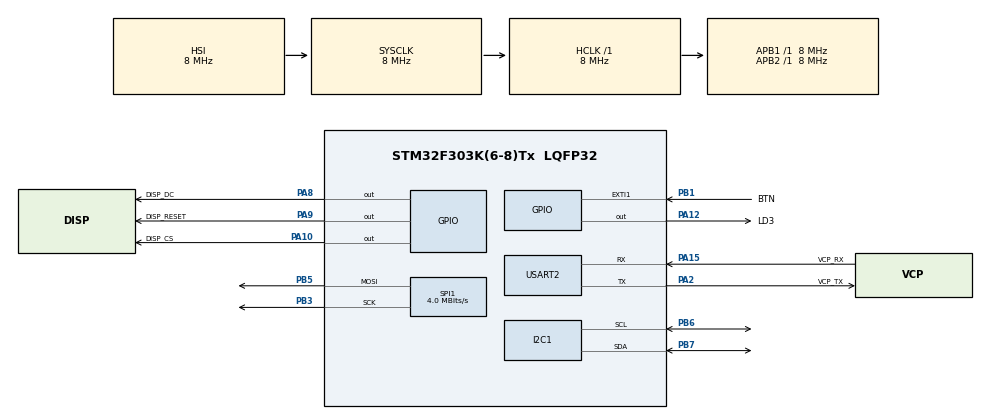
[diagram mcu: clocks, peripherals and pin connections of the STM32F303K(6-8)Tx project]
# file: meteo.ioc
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Dma.I2C1_RX.1.Direction=DMA_PERIPH_TO_MEMORY
Dma.I2C1_RX.1.Instance=DMA1_Channel5
Dma.I2C1_RX.1.MemDataAlignment=DMA_MDATAALIGN_BYTE
Dma.I2C1_RX.1.MemInc=DMA_MINC_ENABLE
Dma.I2C1_RX.1.Mode=DMA_NORMAL
Dma.I2C1_RX.1.PeriphDataAlignment=DMA_PDATAALIGN_BYTE
Dma.I2C1_RX.1.PeriphInc=DMA_PINC_DISABLE
Dma.I2C1_RX.1.Priority=DMA_PRIORITY_LOW
Dma.I2C1_TX.2.Direction=DMA_MEMORY_TO_PERIPH
Dma.I2C1_TX.2.Instance=DMA1_Channel2
Dma.I2C1_TX.2.MemDataAlignment=DMA_MDATAALIGN_BYTE
Dma.I2C1_TX.2.MemInc=DMA_MINC_ENABLE
Dma.I2C1_TX.2.Mode=DMA_NORMAL
Dma.I2C1_TX.2.PeriphDataAlignment=DMA_PDATAALIGN_BYTE
Dma.I2C1_TX.2.PeriphInc=DMA_PINC_DISABLE
Dma.I2C1_TX.2.Priority=DMA_PRIORITY_LOW
Dma.Request0=SPI1_TX
Dma.Request1=I2C1_RX
Dma.Request2=I2C1_TX
Dma.SPI1_TX.0.Direction=DMA_MEMORY_TO_PERIPH
Dma.SPI1_TX.0.Instance=DMA1_Channel3
Dma.SPI1_TX.0.MemDataAlignment=DMA_MDATAALIGN_BYTE
Dma.SPI1_TX.0.MemInc=DMA_MINC_ENABLE
Dma.SPI1_TX.0.Mode=DMA_NORMAL
Dma.SPI1_TX.0.PeriphDataAlignment=DMA_PDATAALIGN_BYTE
Dma.SPI1_TX.0.PeriphInc=DMA_PINC_DISABLE
Dma.SPI1_TX.0.Priority=DMA_PRIORITY_LOW
I2C1.Timing=0x00201D2B
Mcu.Family=STM32F3
Mcu.Name=STM32F303K(6-8)Tx
Mcu.Package=LQFP32
NVIC.DMA1_Channel2_IRQn=true\:0\:0\:false\:false\:true\:false\:true\:true
NVIC.DMA1_Channel3_IRQn=true\:0\:0\:false\:false\:true\:false\:true\:true
NVIC.DMA1_Channel5_IRQn=true\:0\:0\:false\:false\:true\:false\:true\:true
NVIC.EXTI1_IRQn=true\:0\:0\:false\:false\:true\:true\:true\:true
NVIC.PriorityGroup=NVIC_PRIORITYGROUP_4
NVIC.TIM1_UP_TIM16_IRQn=true\:0\:0\:false\:false\:true\:true\:true\:true
NVIC.TIM6_DAC1_IRQn=true\:0\:0\:false\:false\:true\:true\:true\:true
NVIC.TIM7_DAC2_IRQn=true\:0\:0\:false\:false\:true\:true\:true\:true
PA10.GPIO_Label=DISP_CS
PA10.Signal=GPIO_Output
PA12.GPIO_Label=LD3
PA12.Signal=GPIO_Output
PA13.GPIO_Label=SWDIO
PA13.Mode=Serial_Wire
PA13.Signal=SYS_JTMS-SWDIO
PA14.GPIO_Label=SWCLK
PA14.Mode=Serial_Wire
PA14.Signal=SYS_JTCK-SWCLK
PA15.GPIO_Label=VCP_RX
PA15.Mode=Asynchronous
PA15.Signal=USART2_RX
PA2.GPIO_Label=VCP_TX
PA2.Mode=Asynchronous
PA2.Signal=USART2_TX
PA8.GPIO_Label=DISP_DC
PA8.Signal=GPIO_Output
PA9.GPIO_Label=DISP_RESET
PA9.Signal=GPIO_Output
PB1.GPIO_Label=BTN
PB1.GPIO_ModeDefaultEXTI=GPIO_MODE_IT_FALLING
PB1.GPIO_PuPd=GPIO_PULLUP
PB1.Signal=GPXTI1
PB3.Mode=TX_Only_Simplex_Unidirect_Master
PB3.Signal=SPI1_SCK
PB5.Mode=TX_Only_Simplex_Unidirect_Master
PB5.Signal=SPI1_MOSI
PB6.GPIO_Pu=GPIO_PULLUP
PB6.Mode=I2C
PB6.Signal=I2C1_SCL
PB7.GPIO_Pu=GPIO_PULLUP
PB7.Mode=I2C
PB7.Signal=I2C1_SDA
PF0\ /\ OSC_IN.GPIO_Label=MCO
PF0\ /\ OSC_IN.Mode=HSE-External-Clock-Source
PF0\ /\ OSC_IN.Signal=RCC_OSC_IN
ProjectManager.HeapSize=0x200
ProjectManager.StackSize=0x400
ProjectManager.TargetToolchain=STM32CubeIDE
RCC.AHBFreq_Value=8000000
RCC.APB1Freq_Value=8000000
RCC.APB2Freq_Value=8000000
RCC.CortexFreq_Value=8000000
RCC.HSE_VALUE=8000000
RCC.HSI_VALUE=8000000
RCC.I2c1ClockSelection=RCC_I2C1CLKSOURCE_SYSCLK
RCC.SYSCLKFreq_VALUE=8000000
SPI1.CalculateBaudRate=4.0 MBits/s
SPI1.DataSize=SPI_DATASIZE_8BIT
SPI1.Direction=SPI_DIRECTION_2LINES
SPI1.Mode=SPI_MODE_MASTER
SPI1.VirtualType=VM_MASTER
TIM16.Period=7999
TIM16.Prescaler=999
TIM6.Period=5000
TIM6.Prescaler=800-1
TIM7.Period=100
TIM7.Prescaler=800-1
USART2.VirtualMode-Asynchronous=VM_ASYNC
VP_TIM16_VS_ClockSourceINT.Mode=Enable_Timer
VP_TIM6_VS_ClockSourceINT.Mode=Enable_Timer
VP_TIM7_VS_ClockSourceINT.Mode=Enable_Timer
board=NUCLEO-F303K8

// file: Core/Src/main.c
/* USER CODE BEGIN Header */
/**
 ******************************************************************************
 * @file           : main.c
 * @brief          : Main program body
 ******************************************************************************
 * @attention
 *
 * Copyright (c) 2025 STMicroelectronics.
 * All rights reserved.
 *
 * This software is licensed under terms that can be found in the LICENSE file
 * in the root directory of this software component.
 * If no LICENSE file comes with this software, it is provided AS-IS.
 *
 ******************************************************************************
 */
/* USER CODE END Header */
#include "main.h"
#include "dma.h"
#include "i2c.h"
#include "spi.h"
#include "tim.h"
#include "usart.h"
#include "gpio.h"

/* USER CODE BEGIN Includes */
#include "hts221.h"
#include "lps25hb.h"
#include <stdio.h>
#include <string.h>
#include "text_function.h"
#include "stm32f3xx_hal.h"
#include "ILI9341_STM32_Driver.h"
#include "ILI9341_GFX.h"
#include <math.h>
/* USER CODE END Includes */

/* USER CODE BEGIN PTD */
typedef enum {
	WX_CLOUDY = 1, WX_SUNNY = 2, WX_RAIN = 3, WX_STORM = 4, WX_FOG = 5
} WeatherFlag;
/* USER CODE END PTD */

/* USER CODE BEGIN PD */
#define PRESS_BUF_SIZE   10         // 10 vzoriek
#define SAMPLE_PERIOD_S  60 		// 1 vzorka tlaku za 60 s

/* USER CODE END PD */

/* USER CODE BEGIN PV */
int8_t screen_index = 0;
int8_t screen_status = 0;
int8_t screen_tick = 0;
int32_t butonCounter = 0;

char string_pressure[7];
char string_humidity[7];
char string_hum_lvl[10];
char string_temp[7];

int8_t mode = 1;
int8_t redraw = 0;
uint8_t screen = 0;
uint32_t change = 0;
volatile uint8_t btn_pressed = 0;

char string_buf[7];
uint8_t date_buff[6];
uint8_t date_changemask = 0;

HTS221_t hts;
LPS22HB_t lps;

float temperature = 0.0f, humidity = 0.0f, pressure_hPa = 0.0f;

static float pressBuf[PRESS_BUF_SIZE];
static uint8_t pressIdx = 0;
static bool pressFull = false;
static uint32_t lastSampleTick = 0;
static uint32_t lastSensorRead = 0;

// Pre display
float display_temp = 0.0f;
float display_humidity = 0.0f;
float display_pressure = 0.0f;
WeatherFlag current_weather = WX_SUNNY;

/* USER CODE END PV */

void SystemClock_Config(void);
/* USER CODE BEGIN PFP */
int USART_ReadTime();
static float readPressure_hPa(void);
static float pressureTrend_hPa_per_hr(void);
static WeatherFlag simpleForecast(float p_hPa, float rh_percent,
		float trend_hPa_hr, float tempC);
static void updateSensorData(void);
static void updateWeatherForecast(void);

/* USER CODE END PFP */

/* USER CODE BEGIN 0 */

static float readPressure_hPa(void) {
	float pressure = LPS22_ReadPressure(&lps);
	return pressure;
}

static void updateSensorData(void) {
	temperature = HTS221_ReadTemperature(&hts);
	humidity = HTS221_ReadHumidity(&hts);
	pressure_hPa = readPressure_hPa();

	// Aktualizuj display hodnoty
	display_temp = temperature;
	display_humidity = humidity;
	display_pressure = pressure_hPa;

	// Log každú sekundu: T, RH, p
	printf("%.1f, %.0f, %.1f\r\n", temperature, humidity, pressure_hPa);
}

static void updateWeatherForecast(void) {
	// Raz za SAMPLE_PERIOD_S urob vzorku tlaku do buffra
	if (HAL_GetTick() - lastSampleTick >= (SAMPLE_PERIOD_S * 1000UL)) {
		lastSampleTick = HAL_GetTick();

		pressBuf[pressIdx] = pressure_hPa;
		pressIdx = (pressIdx + 1) % PRESS_BUF_SIZE;

		// Po naplnení buffra nastav flag
		if (pressIdx == 0 && !pressFull) {
			pressFull = true;
		}

		// Keď je buffer plný, vypočítaj trend a predpoveď
		if (pressFull) {
			float trend = pressureTrend_hPa_per_hr();
			current_weather = simpleForecast(pressure_hPa, humidity, trend,
					temperature);

			// WX je flag predpovede
			printf("WX=%d, trend=%.2f hPa/h\r\n", (int) current_weather, trend);
		}
	}
}

/* USER CODE END 0 */

int main(void)
{

  /* MCU Configuration--------------------------------------------------------*/

  /* Reset of all peripherals, Initializes the Flash interface and the Systick. */
  HAL_Init();

  /* Configure the system clock */
  SystemClock_Config();

  /* Initialize all configured peripherals */
  MX_GPIO_Init();
  MX_DMA_Init();
  MX_USART2_UART_Init();
  MX_SPI1_Init();
  MX_I2C1_Init();
  MX_TIM7_Init();
  MX_TIM6_Init();
  MX_TIM16_Init();
  /* USER CODE BEGIN 2 */

//	uint8_t manual_id = 0;
//	HAL_I2C_Mem_Read(&hi2c1, (0x5F << 1), 0x0F, 1, &manual_id, 1, 100);
//	printf("Manualny test: 0x%02X\r\n", manual_id);
//
//	uint8_t id_test = 0;
//	if (HAL_I2C_Mem_Read(&hi2c1, (0x5C << 1), 0x0F, 1, &id_test, 1, 100)
//			== HAL_OK) {
//		printf("LPS najdeny na adrese 0xB8! ID: 0x%02X\r\n", id_test);
//	} else if (HAL_I2C_Mem_Read(&hi2c1, (0x5D << 1), 0x0F, 1, &id_test, 1, 100)
//			== HAL_OK) {
//		printf("LPS najdeny na adrese 0xBA! ID: 0x%02X\r\n", id_test);
//	} else {
//		printf("LPS nereaguje na ziadnej znamej adrese.\r\n");
//	}

	hts.hi2c = &hi2c1;
	hts.I2C_Read = I2C_Read;
	hts.I2C_Write = I2C_Write;

	lps.hi2c = &hi2c1;
	lps.I2C_Read = I2C_Read;
	lps.I2C_Write = I2C_Write;

	//TU VYPISE OK
	if (HTS221_Init(&hts)) {
		printf("HTS221 OK\r\n");
	} else {
		printf("HTS221 FAIL\r\n");
	}

	if (LPS22_Init(&lps)) {
		printf("LPS22 OK\r\n");
	} else {
		printf("LPS22 FAIL\r\n");
	}

	//TU VYPISE DOBRE HODNOTY
	updateSensorData();
	HAL_Delay(1000);
	printf("Reference pressure: %.2f hPa\r\n", pressure_hPa);
	HAL_Delay(1000);
	printf("Temperature: %.1f C\r\n", temperature);
	HAL_Delay(1000);
	printf("Humidity: %.0f %%\r\n\r\n", humidity);

	HAL_Delay(1000);
	USART_ReadTime();
	HAL_Delay(100);

	// displej init
	//AK SU ZAKOMENTOVANE NASLEDUJUCE TRI RIADKY, DALSIA INIT SENZOROV NEZLYHA
	ILI9341_Init();
	ILI9341_SetRotation(3);
	ILI9341_FillScreen(BGCOLOR);
	HAL_Delay(1000);

	//TU VYPISE FAIL AJ NAPRIEK PRVOTNEMU OK (AK SU ZAKOMENTOVANE VYSSIE SPOMENUTE TRI RIADKY, VYPISE OK, NO PO CASE ZNOVA ZACNU SENZORY VRACAT HLUPOSTI)
	if (HTS221_Init(&hts)) {
		printf("HTS221 OK\r\n");
	} else {
		printf("HTS221 FAIL\r\n");
	}

	if (LPS22_Init(&lps)) {
		printf("LPS22 OK\r\n");
	} else {
		printf("LPS22 FAIL\r\n");
	}

	// TU VRACIA HLUPOSTI
	HAL_Delay(200);
	updateSensorData();

	HAL_Delay(1000);
	printf("Reference pressure: %.2f hPa\r\n", pressure_hPa);
	HAL_Delay(1000);
	printf("Temperature: %.1f C\r\n", temperature);
	HAL_Delay(1000);
	printf("Humidity: %.0f %%\r\n\r\n", humidity);

	lastSampleTick = HAL_GetTick();
	lastSensorRead = HAL_GetTick();

	HAL_TIM_Base_Start_IT(&htim16);

	int last_second_val = -1;
	char time_string[10];
	char seconds_string[5];
	char date_string[15];

	float last_temp = display_temp;
	int16_t last_humidity = (int) display_humidity;
	int16_t last_pressure = (int) display_pressure;
//	float last_temp = -1.0f;
//		int16_t last_humidity = -1;
//		int16_t last_pressure = -1;

	DrawDataCentered_WithOffset("Welcome!", FONT4, 2, 65, FCOLOR);
	DrawDataCentered_WithOffset("Weather station created by:", FONT4, 1, 115,
	FCOLOR);
	DrawDataCentered_WithOffset("Bodor, Gavendova,", FONT4, 1,
			115 + FONT4[2] + 1, FCOLOR);
	DrawDataCentered_WithOffset("Kapina, Krajmer", FONT4, 1,
			115 + (FONT4[2]) * 2 + 1, FCOLOR);

  /* USER CODE END 2 */

  /* Infinite loop */
  /* USER CODE BEGIN WHILE */

	// NEMAZAT!!!!!!!!!!!
	// LEN ZAKOMENTOVANY MODE 0
//	if (mode == 0) {
//		DrawDataCentered_WithOffset("*Press the button to stop the screen",
//		FONT4, 1, 240 - FONT4[2] - 1, GREEN);
//		HAL_Delay(3000);
//		while (1) {
//			if (HAL_GetTick() - lastSensorRead >= 1000) {
//				lastSensorRead = HAL_GetTick();
//				updateSensorData();
//				updateWeatherForecast();
//			}
//
//			int current_s = date_buff[2];
//			int year = 1900 + date_buff[5];
//			sprintf(date_string, "%02d.%02d.%04d", date_buff[3], date_buff[4],
//					year);
//
//			if ((int) display_humidity >= 40 && (int) display_humidity <= 60) {
//				snprintf(string_hum_lvl, sizeof(string_hum_lvl), "COMFORT");
//			} else if ((int) display_humidity < 40) {
//				snprintf(string_hum_lvl, sizeof(string_hum_lvl), "DRY");
//			} else {
//				snprintf(string_hum_lvl, sizeof(string_hum_lvl), "HUMID");
//			}
//
//			if (!btn_pressed && (HAL_GetTick() - change >= 5000)) {
//				screen++;
//				if (screen > 5)
//					screen = 0;
//				change = HAL_GetTick();
//
//				ILI9341_FillScreen(BGCOLOR);
//				last_temp = -1.0f;
//				last_humidity = -1;
//				last_pressure = -1;
//
//				switch (screen) {
//				case 0:
//					sprintf(time_string, "%02d:%02d", date_buff[0],
//							date_buff[1]);
//					sprintf(seconds_string, ":%02d", date_buff[2]);
//					sprintf(string_temp, "%.1f", display_temp);
//					sprintf(string_humidity, "%.0f", display_humidity);
//					sprintf(string_pressure, "%.0f", display_pressure);
//
//					ILI9341_DrawHLine(0, 120, 320, FCOLOR);
//					ILI9341_DrawVLine(160, 0, 240, FCOLOR);
//					DrawDataInBox(time_string, seconds_string, date_string,
//							FONT4, 2, 1, 1, 0, 0, 1, 1, 1);
//					DrawDataInBox(string_temp, "\177C", "", FONT4, 2, 1, 1, 160,
//							0, 1, 1, 0);
//					DrawDataInBox(string_humidity, "%", string_hum_lvl, FONT4,
//							2, 1, 1, 0, 120, 1, 1, 1);
//					DrawDataInBox(string_pressure, "hPa", "", FONT4, 2, 1, 1,
//							160, 120, 1, 1, 0);
//					break;
//
//				case 1:
//					sprintf(time_string, "%02d:%02d", date_buff[0],
//							date_buff[1]);
//					sprintf(seconds_string, ":%02d", date_buff[2]);
//					DrawDataCentered2(time_string, seconds_string, date_string,
//							FONT4, 5, 3, 3, 1, 1, 1);
//					break;
//
//				case 2:
//					sprintf(string_temp, "%.1f", display_temp);
//					DrawDataCentered2(string_temp, "\177C", "", FONT4, 5, 3, 0,
//							1, 1, 0);
//					break;
//
//				case 3:
//					sprintf(string_humidity, "%.0f", display_humidity);
//					DrawDataCentered2(string_humidity, "%", string_hum_lvl,
//							FONT4, 5, 3, 3, 1, 1, 1);
//					break;
//
//				case 4:
//					sprintf(string_pressure, "%.0f", display_pressure);
//					DrawDataCentered2(string_pressure, "hPa", "", FONT4, 5, 3,
//							0, 1, 1, 0);
//					break;
//
//				case 5:
//					if (current_weather == WX_CLOUDY) {
//						DrawCloud(LIGHTGREY, 3);
//					} else if (current_weather == WX_SUNNY) {
//						DrawSun(YELLOW, 3);
//					} else if (current_weather == WX_RAIN) {
//						DrawRain(LIGHTGREY, 3);
//					} else if (current_weather == WX_FOG) {
//						DrawFog(LIGHTGREY, 3);
//					}
//					break;
//				}
//			}
//
//			// dynamic
//			if (screen == 0) {
//				if (current_s != last_second_val) {
//					sprintf(time_string, "%02d:%02d", date_buff[0],
//							date_buff[1]);
//					sprintf(seconds_string, ":%02d", date_buff[2]);
//					redraw = (current_s == 0) ? 1 : 0;
//					DrawDataInBox(time_string, seconds_string, date_string,
//							FONT4, 2, 1, 1, 0, 0, redraw, 1, 0);
//					last_second_val = current_s;
//				}
//			}
//
//			if (screen == 1) {
//				if (current_s != last_second_val) {
//					sprintf(time_string, "%02d:%02d", date_buff[0],
//							date_buff[1]);
//					sprintf(seconds_string, ":%02d", date_buff[2]);
//					redraw = (current_s == 0) ? 1 : 0;
//					DrawDataCentered2(time_string, seconds_string, date_string,
//							FONT4, 5, 3, 3, redraw, 1, 0);
//					last_second_val = current_s;
//				}
//			}
//
//			if (display_temp != last_temp) {
//				sprintf(string_temp, "%.1f", display_temp);
//				if (screen == 2) {
//					DrawDataCentered2(string_temp, "\177C", "", FONT4, 5, 3, 0,
//							1, 0, 0);
//				} else if (screen == 0) {
//					DrawDataInBox(string_temp, "\177C", "", FONT4, 2, 1, 1, 160,
//							0, 1, 0, 0);
//				}
//				last_temp = display_temp;
//			}
//
//			if ((int) display_humidity != last_humidity) {
//				sprintf(string_humidity, "%.0f", display_humidity);
//				if (screen == 3) {
//					DrawDataCentered2(string_humidity, "%", string_hum_lvl,
//							FONT4, 5, 3, 3, 1, 0, 0);
//				} else if (screen == 0) {
//					DrawDataInBox(string_humidity, "%", string_hum_lvl, FONT4,
//							2, 1, 1, 0, 120, 1, 0, 0);
//				}
//				last_humidity = (int) display_humidity;
//			}
//
//			if ((int) display_pressure != last_pressure) {
//				sprintf(string_pressure, "%.0f", display_pressure);
//				if (screen == 4) {
//					DrawDataCentered2(string_pressure, "hPa", "", FONT4, 5, 3,
//							0, 1, 0, 0);
//				} else if (screen == 0) {
//					DrawDataInBox(string_pressure, "hPa", "", FONT4, 2, 1, 1,
//							160, 120, 1, 0, 0);
//				}
//				last_pressure = (int) display_pressure;
//			}
//		}
//	}
	if (mode == 1) {
		DrawDataCentered_WithOffset("*Press the button to switch screens",
		FONT4, 1, 240 - FONT4[2] - 1, GREEN);

		uint32_t first = 0;
		while (1) {
			if (HAL_GetTick() - lastSensorRead >= 2000) {
				lastSensorRead = HAL_GetTick();
				updateSensorData();
				updateWeatherForecast();
			}

			int current_s = date_buff[2];
			int year = 1900 + date_buff[5];
			sprintf(date_string, "%02d.%02d.%04d", date_buff[3], date_buff[4],
					year);

			if (btn_pressed) {
				screen++;
				if (screen > 5)
					screen = 0;

				ILI9341_FillScreen(BGCOLOR);

				first = 1;
				btn_pressed = 0;

				switch (screen) {
				case 0:
					sprintf(time_string, "%02d:%02d", date_buff[0],
							date_buff[1]);
					sprintf(seconds_string, ":%02d", date_buff[2]);
					sprintf(string_temp, "%.1f", display_temp);
					sprintf(string_humidity, "%.0f", display_humidity);
					sprintf(string_pressure, "%.0f", display_pressure);

					if ((int) display_humidity >= 40
							&& (int) display_humidity <= 60) {
						snprintf(string_hum_lvl, sizeof(string_hum_lvl),
								"COMFORT");
					} else if ((int) display_humidity < 40) {
						snprintf(string_hum_lvl, sizeof(string_hum_lvl), "DRY");
					} else {
						snprintf(string_hum_lvl, sizeof(string_hum_lvl),
								"HUMID");
					}

					ILI9341_DrawHLine(0, 120, 320, FCOLOR);
					ILI9341_DrawVLine(160, 0, 240, FCOLOR);
					DrawDataInBox(time_string, seconds_string, date_string,
					FONT4, 2, 1, 1, 0, 0, 1, 1, 1);
					DrawDataInBox(string_temp, "\177C", "", FONT4, 2, 1, 1, 160,
							0, 1, 1, 0);
					DrawDataInBox(string_humidity, "%", string_hum_lvl, FONT4,
							2, 1, 1, 0, 120, 1, 1, 1);
					DrawDataInBox(string_pressure, "hPa", "", FONT4, 2, 1, 1,
							160, 120, 1, 1, 0);
					break;

				case 1:
					sprintf(time_string, "%02d:%02d", date_buff[0],
							date_buff[1]);
					sprintf(seconds_string, ":%02d", date_buff[2]);
					DrawDataCentered2(time_string, seconds_string, date_string,
					FONT4, 5, 3, 3, 1, 1, 1);
					break;

				case 2:
					sprintf(string_temp, "%.1f", display_temp);
					DrawDataCentered2(string_temp, "\177C", "", FONT4, 5, 3, 0,
							1, 1, 0);
					break;

				case 3:
					if ((int) display_humidity >= 40
							&& (int) display_humidity <= 60) {
						snprintf(string_hum_lvl, sizeof(string_hum_lvl),
								"COMFORT");
					} else if ((int) display_humidity < 40) {
						snprintf(string_hum_lvl, sizeof(string_hum_lvl), "DRY");
					} else {
						snprintf(string_hum_lvl, sizeof(string_hum_lvl),
								"HUMID");
					}

					sprintf(string_humidity, "%.0f", display_humidity);
					DrawDataCentered2(string_humidity, "%", string_hum_lvl,
					FONT4, 5, 3, 3, 1, 1, 1);
					break;

				case 4:
					sprintf(string_pressure, "%.0f", display_pressure);
					DrawDataCentered2(string_pressure, "hPa", "", FONT4, 5, 3,
							0, 1, 1, 0);
					break;

				case 5:
					if (current_weather == WX_CLOUDY) {
						DrawCloud(LIGHTGREY, 3);
					} else if (current_weather == WX_SUNNY) {
						DrawSun(YELLOW, 3);
					} else if (current_weather == WX_RAIN) {
						DrawRain(LIGHTGREY, 3);
					} else if (current_weather == WX_FOG) {
						DrawFog(LIGHTGREY, 3);
					}
					break;
				}
			}

			if (first == 1) {
				// dynamic
				if (screen == 0) {
					if (current_s != last_second_val) {
						sprintf(time_string, "%02d:%02d", date_buff[0],
								date_buff[1]);
						sprintf(seconds_string, ":%02d", date_buff[2]);
						redraw = (current_s == 0) ? 1 : 0;
						DrawDataInBox(time_string, seconds_string, date_string,
						FONT4, 2, 1, 1, 0, 0, redraw, 1, 0);
						last_second_val = current_s;
					}
				}

				if (screen == 1) {
					if (current_s != last_second_val) {
						sprintf(time_string, "%02d:%02d", date_buff[0],
								date_buff[1]);
						sprintf(seconds_string, ":%02d", date_buff[2]);
						redraw = (current_s == 0) ? 1 : 0;
						DrawDataCentered2(time_string, seconds_string,
								date_string, FONT4, 5, 3, 3, redraw, 1, 0);
						last_second_val = current_s;
					}
				}

				if (display_temp != last_temp) {
					sprintf(string_temp, "%.1f", display_temp);
					if (screen == 2) {
						ILI9341_DrawFilledRectangleCoord(0, 60, 320, 180,
						BGCOLOR);
						DrawDataCentered2(string_temp, "\177C", "", FONT4, 5, 3,
								0, 1, 1, 0);
					} else if (screen == 0) {
						ILI9341_DrawFilledRectangleCoord(170, 30, 310, 90,
						BGCOLOR);
						DrawDataInBox(string_temp, "\177C", "", FONT4, 2, 1, 1,
								160, 0, 1, 1, 0);
					}
					last_temp = display_temp;
				}
				static char last_hum_lvl[7] = "";
				if ((int) display_humidity != last_humidity) {
					bool change = 0;
					if ((int) display_humidity >= 40
							&& (int) display_humidity <= 60) {
						snprintf(string_hum_lvl, sizeof(string_hum_lvl),
								"COMFORT");
					} else if ((int) display_humidity < 40) {
						snprintf(string_hum_lvl, sizeof(string_hum_lvl), "DRY");
					} else {
						snprintf(string_hum_lvl, sizeof(string_hum_lvl),
								"HUMID");
					}
					if (strcmp(string_hum_lvl, last_hum_lvl) != 0) {
						change = 1;
						strncpy(last_hum_lvl, string_hum_lvl,
								sizeof(last_hum_lvl));
					}
					sprintf(string_humidity, "%.0f", display_humidity);
					if (screen == 3) {
						if (change == 1) {
							ILI9341_DrawFilledRectangleCoord(10, 20, 300, 220,
							BGCOLOR);
						} else {
							ILI9341_DrawFilledRectangleCoord(10, 20, 300, 130,
							BGCOLOR);
						}
						DrawDataCentered2(string_humidity, "%", string_hum_lvl,
						FONT4, 5, 3, 3, 1, 1, change);
						change = 0;
					} else if (screen == 0) {
						if (change == 1) {
							ILI9341_DrawFilledRectangleCoord(10, 130, 150, 230,
							BGCOLOR);
						} else {
							ILI9341_DrawFilledRectangleCoord(10, 130, 150, 185,
							BGCOLOR);
						}

						DrawDataInBox(string_humidity, "%", string_hum_lvl,
						FONT4, 2, 1, 1, 0, 120, 1, 1, change);
					}
					last_humidity = (int) display_humidity;
				}

				if ((int) display_pressure != last_pressure) {
					sprintf(string_pressure, "%.0f", display_pressure);
					if (screen == 4) {
						ILI9341_DrawFilledRectangleCoord(20, 60, 300, 180,
						BGCOLOR);
						DrawDataCentered2(string_pressure, "hPa", "", FONT4, 5,
								3, 0, 1, 1, 0);

					} else if (screen == 0) {
						ILI9341_DrawFilledRectangleCoord(170, 150, 310, 210,
						BGCOLOR);
						DrawDataInBox(string_pressure, "hPa", "", FONT4, 2, 1,
								1, 160, 120, 1, 1, 0);
					}
					last_pressure = (int) display_pressure;
				}
			}
		}
	}

    /* USER CODE END WHILE */

}

void SystemClock_Config(void)
{
  RCC_OscInitTypeDef RCC_OscInitStruct = {0};
  RCC_ClkInitTypeDef RCC_ClkInitStruct = {0};
  RCC_PeriphCLKInitTypeDef PeriphClkInit = {0};

  /** Initializes the RCC Oscillators according to the specified parameters
  * in the RCC_OscInitTypeDef structure.
  */
  RCC_OscInitStruct.OscillatorType = RCC_OSCILLATORTYPE_HSI;
  RCC_OscInitStruct.HSIState = RCC_HSI_ON;
  RCC_OscInitStruct.HSICalibrationValue = RCC_HSICALIBRATION_DEFAULT;
  RCC_OscInitStruct.PLL.PLLState = RCC_PLL_NONE;
  if (HAL_RCC_OscConfig(&RCC_OscInitStruct) != HAL_OK)
  {
    Error_Handler();
  }

  /** Initializes the CPU, AHB and APB buses clocks
  */
  RCC_ClkInitStruct.ClockType = RCC_CLOCKTYPE_HCLK|RCC_CLOCKTYPE_SYSCLK
                              |RCC_CLOCKTYPE_PCLK1|RCC_CLOCKTYPE_PCLK2;
  RCC_ClkInitStruct.SYSCLKSource = RCC_SYSCLKSOURCE_HSI;
  RCC_ClkInitStruct.AHBCLKDivider = RCC_SYSCLK_DIV1;
  RCC_ClkInitStruct.APB1CLKDivider = RCC_HCLK_DIV1;
  RCC_ClkInitStruct.APB2CLKDivider = RCC_HCLK_DIV1;

  if (HAL_RCC_ClockConfig(&RCC_ClkInitStruct, FLASH_LATENCY_0) != HAL_OK)
  {
    Error_Handler();
  }
  PeriphClkInit.PeriphClockSelection = RCC_PERIPHCLK_I2C1;
  PeriphClkInit.I2c1ClockSelection = RCC_I2C1CLKSOURCE_SYSCLK;
  if (HAL_RCCEx_PeriphCLKConfig(&PeriphClkInit) != HAL_OK)
  {
    Error_Handler();
  }
}

/* USER CODE BEGIN 4 */
void HAL_GPIO_EXTI_Callback(uint16_t GPIO_Pin) {
	if (GPIO_Pin == BTN_Pin) {
		btn_pressed = !btn_pressed;
		HAL_GPIO_TogglePin(GPIOB, LD3_Pin);
	}
}

// odošleme žiadosť na dektop apku pomocou USART portu a čakáme na odpoveď
int USART_ReadTime() {
	uint8_t msg[] = "get\0";

	HAL_UART_Transmit(&huart2, msg, sizeof(msg) - 1, HAL_MAX_DELAY);
	uint8_t rx;

	for (int i = 0; i < 6; i++) {
		HAL_UART_Receive(&huart2, &rx, 1, HAL_MAX_DELAY);
		date_buff[i] = rx;
	}
	char buff[30];
	uint16_t year = 1900;
	year += date_buff[5];
	sprintf(buff, "%02d:%02d:%02d %02d.%02d.%04d", date_buff[0], date_buff[1],
			date_buff[2], date_buff[3], date_buff[4], year);
	HAL_UART_Transmit(&huart2, buff, sizeof(buff) - 1, HAL_MAX_DELAY);

	return 0;
}

// time increase
void HAL_TIM_PeriodElapsedCallback(TIM_HandleTypeDef *htim) {
	if (htim == &htim16) {
		date_buff[2]++;
		date_changemask |= 0x8;
		if (date_buff[2] > 59) {
			date_buff[2] = 0;
			date_buff[1]++;
			date_changemask |= 0x10;
		}

		if (date_buff[1] > 59) {
			date_buff[1] = 0;
			date_buff[0]++;
			date_changemask |= 0x20;
		}

		char buff[30];
		uint16_t year = 1900;
		year += date_buff[5];

		sprintf(buff, "%02d:%02d:%02d %02d.%02d.%04d", date_buff[0],
				date_buff[1], date_buff[2], date_buff[3], date_buff[4], year);
		HAL_UART_Transmit(&huart2, buff, sizeof(buff) - 1, HAL_MAX_DELAY);
	}
}

int _write(int file, char *ptr, int len) {
	HAL_UART_Transmit(&huart2, (uint8_t*) ptr, len, HAL_MAX_DELAY);
	return len;
}

// Trend tlaku v hPa/h, počítaný cez celé okno buffra
static float pressureTrend_hPa_per_hr(void) {
	if (!pressFull)
		return 0.0f;

	// newest = posledne zapisana vzorka
	uint8_t newest = (pressIdx + PRESS_BUF_SIZE - 1) % PRESS_BUF_SIZE;
	// oldest = pressIdx (keď je buffer full, pressIdx ukazuje na najstaršiu vzorku)
	uint8_t oldest = pressIdx;

	float p_new = pressBuf[newest];
	float p_old = pressBuf[oldest];

	float hours = (PRESS_BUF_SIZE * SAMPLE_PERIOD_S) / 3600.0f;
	if (hours <= 0.0f)
		return 0.0f;

	return (p_new - p_old) / hours;
}

static WeatherFlag simpleForecast(float p_hPa, float rh_percent,
		float trend_hPa_hr, float tempC) {
	// 1) Búrka: veľmi rýchly pokles tlaku
	if (trend_hPa_hr < -6.0f)
		return WX_STORM;

	// 2) Dážď: tlak klesá + vlhkosť je vyššia
	if (trend_hPa_hr < -3.0f && rh_percent > 70.0f)
		return WX_RAIN;

	// 3) Hmla: veľmi vysoká vlhkosť + chladno + tlak takmer stabilný
	if (rh_percent > 92.0f && tempC < 8.0f && fabsf(trend_hPa_hr) < 1.0f)
		return WX_FOG;

	// 4) Slnečno: tlak rastie, alebo tlak je vysoký a podmienky sú stabilné
	if (trend_hPa_hr > 2.0f)
		return WX_SUNNY;
	if (p_hPa > 1018.0f && trend_hPa_hr > -1.0f && rh_percent < 75.0f)
		return WX_SUNNY;

	// 5) Inak zamračené
	return WX_CLOUDY;
}

/* USER CODE END 4 */

void Error_Handler(void)
{
	__disable_irq();
	while (1) {
	}
}
